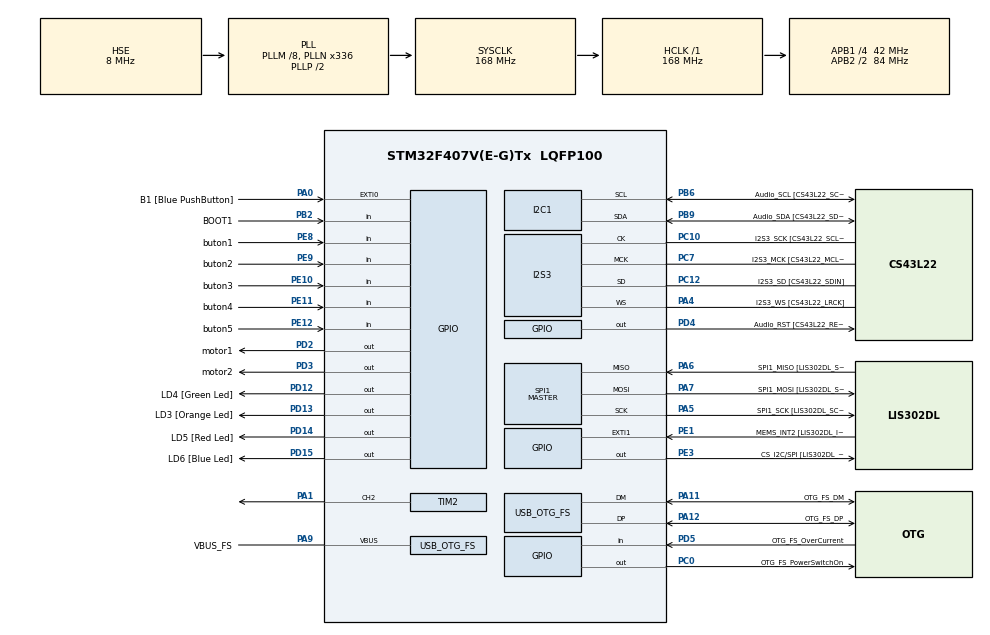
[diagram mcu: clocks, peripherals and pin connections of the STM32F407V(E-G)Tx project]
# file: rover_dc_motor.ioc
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I2S3.AudioFreq-Half_Duplex_Master=I2S_AUDIOFREQ_96K
I2S3.ErrorAudioFreq=-2.34 %
I2S3.ErrorAudioFreq-Half_Duplex_Master=0.8 %
I2S3.FullDuplexMode=I2S_FULLDUPLEXMODE_DISABLE
I2S3.Instance=SPI$Index
I2S3.RealAudioFreq=93.75 KHz
I2S3.RealAudioFreq-Half_Duplex_Master=96.774 KHz
I2S3.VirtualMode=I2S_MODE_MASTER
Mcu.Family=STM32F4
Mcu.Name=STM32F407V(E-G)Tx
Mcu.Package=LQFP100
NVIC.OTG_FS_IRQn=true\:0\:0\:false\:false\:true\:true\:true\:true
NVIC.PriorityGroup=NVIC_PRIORITYGROUP_0
NVIC.TIM2_IRQn=true\:0\:0\:false\:false\:true\:true\:true\:true
PA0-WKUP.GPIO_Label=B1 [Blue PushButton]
PA0-WKUP.GPIO_ModeDefaultEXTI=GPIO_MODE_EVT_RISING
PA0-WKUP.GPIO_PuPd=GPIO_NOPULL
PA0-WKUP.Signal=GPXTI0
PA1.Signal=S_TIM2_CH2
PA10.GPIO_Label=OTG_FS_ID
PA10.GPIO_Mode=GPIO_MODE_AF_PP
PA10.GPIO_PuPd=GPIO_NOPULL
PA10.GPIO_Speed=GPIO_SPEED_FREQ_LOW
PA10.Signal=USB_OTG_FS_ID
PA11.GPIO_Label=OTG_FS_DM
PA11.GPIO_Mode=GPIO_MODE_AF_PP
PA11.GPIO_PuPd=GPIO_NOPULL
PA11.GPIO_Speed=GPIO_SPEED_FREQ_LOW
PA11.Mode=Host_Only
PA11.Signal=USB_OTG_FS_DM
PA12.GPIO_Label=OTG_FS_DP
PA12.GPIO_Mode=GPIO_MODE_AF_PP
PA12.GPIO_PuPd=GPIO_NOPULL
PA12.GPIO_Speed=GPIO_SPEED_FREQ_LOW
PA12.Mode=Host_Only
PA12.Signal=USB_OTG_FS_DP
PA13.GPIO_Label=SWDIO
PA13.Mode=Serial_Wire
PA13.Signal=SYS_JTMS-SWDIO
PA14.GPIO_Label=SWCLK
PA14.Mode=Serial_Wire
PA14.Signal=SYS_JTCK-SWCLK
PA4.GPIO_Label=I2S3_WS [CS43L22_LRCK]
PA4.GPIO_Mode=GPIO_MODE_AF_PP
PA4.GPIO_PuPd=GPIO_NOPULL
PA4.GPIO_Speed=GPIO_SPEED_FREQ_LOW
PA4.Mode=Half_Duplex_Master
PA4.Signal=I2S3_WS
PA5.GPIO_Label=SPI1_SCK [LIS302DL_SCL/SPC]
PA5.GPIO_Mode=GPIO_MODE_AF_PP
PA5.GPIO_PuPd=GPIO_NOPULL
PA5.GPIO_Speed=GPIO_SPEED_FREQ_LOW
PA5.Mode=Full_Duplex_Master
PA5.Signal=SPI1_SCK
PA6.GPIO_Label=SPI1_MISO [LIS302DL_SDO]
PA6.GPIO_Mode=GPIO_MODE_AF_PP
PA6.GPIO_PuPd=GPIO_NOPULL
PA6.GPIO_Speed=GPIO_SPEED_FREQ_LOW
PA6.Mode=Full_Duplex_Master
PA6.Signal=SPI1_MISO
PA7.GPIO_Label=SPI1_MOSI [LIS302DL_SDA/SDI/SDO]
PA7.GPIO_Mode=GPIO_MODE_AF_PP
PA7.GPIO_PuPd=GPIO_NOPULL
PA7.GPIO_Speed=GPIO_SPEED_FREQ_LOW
PA7.Mode=Full_Duplex_Master
PA7.Signal=SPI1_MOSI
PA9.GPIO_Label=VBUS_FS
PA9.GPIO_Mode=GPIO_MODE_INPUT
PA9.GPIO_PuPd=GPIO_NOPULL
PA9.Mode=Activate_VBUS
PA9.Signal=USB_OTG_FS_VBUS
PB10.GPIO_Label=CLK_IN [MP45DT02_CLK]
PB10.GPIO_Mode=GPIO_MODE_AF_PP
PB10.GPIO_PuPd=GPIO_NOPULL
PB10.GPIO_Speed=GPIO_SPEED_FREQ_LOW
PB10.Signal=I2S2_CK
PB2.GPIO_Label=BOOT1
PB2.GPIO_Mode=GPIO_MODE_INPUT
PB2.GPIO_PuPd=GPIO_NOPULL
PB2.Signal=GPIO_Input
PB3.GPIO_Label=SWO
PB3.Signal=SYS_JTDO-SWO
PB6.GPIO_Label=Audio_SCL [CS43L22_SCL]
PB6.GPIO_Mode=GPIO_MODE_AF_OD
PB6.GPIO_Pu=GPIO_PULLUP
PB6.GPIO_PuPd=GPIO_NOPULL
PB6.GPIO_Speed=GPIO_SPEED_FREQ_LOW
PB6.Mode=I2C
PB6.Signal=I2C1_SCL
PB9.GPIO_Label=Audio_SDA [CS43L22_SDA]
PB9.GPIO_Mode=GPIO_MODE_AF_OD
PB9.GPIO_Pu=GPIO_PULLUP
PB9.GPIO_PuPd=GPIO_NOPULL
PB9.GPIO_Speed=GPIO_SPEED_FREQ_LOW
PB9.Mode=I2C
PB9.Signal=I2C1_SDA
PC0.GPIO_Label=OTG_FS_PowerSwitchOn
PC0.GPIO_PuPd=GPIO_NOPULL
PC0.GPIO_Speed=GPIO_SPEED_FREQ_LOW
PC0.PinState=GPIO_PIN_SET
PC0.Signal=GPIO_Output
PC10.GPIO_Label=I2S3_SCK [CS43L22_SCLK]
PC10.GPIO_Mode=GPIO_MODE_AF_PP
PC10.GPIO_PuPd=GPIO_NOPULL
PC10.GPIO_Speed=GPIO_SPEED_FREQ_LOW
PC10.Mode=Half_Duplex_Master
PC10.Signal=I2S3_CK
PC12.GPIO_Label=I2S3_SD [CS43L22_SDIN]
PC12.GPIO_Mode=GPIO_MODE_AF_PP
PC12.GPIO_PuPd=GPIO_NOPULL
PC12.GPIO_Speed=GPIO_SPEED_FREQ_LOW
PC12.Mode=Half_Duplex_Master
PC12.Signal=I2S3_SD
PC14-OSC32_IN.GPIO_Label=PC14-OSC32_IN
PC14-OSC32_IN.Mode=LSE-External-Oscillator
PC14-OSC32_IN.Signal=RCC_OSC32_IN
PC15-OSC32_OUT.GPIO_Label=PC15-OSC32_OUT
PC15-OSC32_OUT.Mode=LSE-External-Oscillator
PC15-OSC32_OUT.Signal=RCC_OSC32_OUT
PC3.GPIO_Label=PDM_OUT [MP45DT02_DOUT]
PC3.GPIO_Mode=GPIO_MODE_AF_PP
PC3.GPIO_PuPd=GPIO_NOPULL
PC3.GPIO_Speed=GPIO_SPEED_FREQ_LOW
PC3.Signal=I2S2_SD
PC7.GPIO_Label=I2S3_MCK [CS43L22_MCLK]
PC7.GPIO_Mode=GPIO_MODE_AF_PP
PC7.GPIO_PuPd=GPIO_NOPULL
PC7.GPIO_Speed=GPIO_SPEED_FREQ_LOW
PC7.Mode=Master_Clock_Activated
PC7.Signal=I2S3_MCK
PD12.GPIO_Label=LD4 [Green Led]
PD12.GPIO_PuPd=GPIO_NOPULL
PD12.GPIO_Speed=GPIO_SPEED_FREQ_LOW
PD12.Signal=GPIO_Output
PD13.GPIO_Label=LD3 [Orange Led]
PD13.GPIO_PuPd=GPIO_NOPULL
PD13.GPIO_Speed=GPIO_SPEED_FREQ_LOW
PD13.Signal=GPIO_Output
PD14.GPIO_Label=LD5 [Red Led]
PD14.GPIO_PuPd=GPIO_NOPULL
PD14.GPIO_Speed=GPIO_SPEED_FREQ_LOW
PD14.Signal=GPIO_Output
PD15.GPIO_Label=LD6 [Blue Led]
PD15.GPIO_PuPd=GPIO_NOPULL
PD15.GPIO_Speed=GPIO_SPEED_FREQ_LOW
PD15.Signal=GPIO_Output
PD2.GPIO_Label=motor1
PD2.Signal=GPIO_Output
PD3.GPIO_Label=motor2
PD3.Signal=GPIO_Output
PD4.GPIO_Label=Audio_RST [CS43L22_RESET]
PD4.GPIO_PuPd=GPIO_NOPULL
PD4.GPIO_Speed=GPIO_SPEED_FREQ_LOW
PD4.Signal=GPIO_Output
PD5.GPIO_Label=OTG_FS_OverCurrent
PD5.GPIO_Mode=GPIO_MODE_INPUT
PD5.GPIO_PuPd=GPIO_NOPULL
PD5.Signal=GPIO_Input
PE1.GPIO_Label=MEMS_INT2 [LIS302DL_INT2]
PE1.GPIO_ModeDefaultEXTI=GPIO_MODE_EVT_RISING
PE1.GPIO_PuPd=GPIO_NOPULL
PE1.Signal=GPXTI1
PE10.GPIO_Label=buton3
PE10.GPIO_PuPd=GPIO_PULLDOWN
PE10.Signal=GPIO_Input
PE11.GPIO_Label=buton4
PE11.GPIO_PuPd=GPIO_PULLDOWN
PE11.Signal=GPIO_Input
PE12.GPIO_Label=buton5
PE12.GPIO_PuPd=GPIO_PULLDOWN
PE12.Signal=GPIO_Input
PE3.GPIO_Label=CS_I2C/SPI [LIS302DL_CS_I2C/SPI]
PE3.GPIO_PuPd=GPIO_NOPULL
PE3.GPIO_Speed=GPIO_SPEED_FREQ_LOW
PE3.Signal=GPIO_Output
PE8.GPIO_Label=buton1
PE8.GPIO_PuPd=GPIO_PULLDOWN
PE8.Signal=GPIO_Input
PE9.GPIO_Label=buton2
PE9.GPIO_PuPd=GPIO_PULLDOWN
PE9.Signal=GPIO_Input
PH0-OSC_IN.GPIO_Label=PH0-OSC_IN
PH0-OSC_IN.Mode=HSE-External-Oscillator
PH0-OSC_IN.Signal=RCC_OSC_IN
PH1-OSC_OUT.GPIO_Label=PH1-OSC_OUT
PH1-OSC_OUT.Mode=HSE-External-Oscillator
PH1-OSC_OUT.Signal=RCC_OSC_OUT
ProjectManager.HeapSize=0x200
ProjectManager.StackSize=0x400
ProjectManager.TargetToolchain=STM32CubeIDE
RCC.48MHZClocksFreq_Value=48000000
RCC.AHBFreq_Value=168000000
RCC.APB1CLKDivider=RCC_HCLK_DIV4
RCC.APB1Freq_Value=42000000
RCC.APB1TimFreq_Value=84000000
RCC.APB2CLKDivider=RCC_HCLK_DIV2
RCC.APB2Freq_Value=84000000
RCC.APB2TimFreq_Value=168000000
RCC.CortexFreq_Value=168000000
RCC.HCLKFreq_Value=168000000
RCC.HSE_VALUE=8000000
RCC.HSI_VALUE=16000000
RCC.PLLM=8
RCC.PLLN=336
RCC.PLLQ=7
RCC.SYSCLKFreq_VALUE=168000000
RCC.SYSCLKSource=RCC_SYSCLKSOURCE_PLLCLK
RCC.VCOOutputFreq_Value=336000000
SH.S_TIM2_CH2.0=TIM2_CH2,PWM Generation2 CH2
SPI1.BaudRatePrescaler-Full_Duplex_Master=SPI_BAUDRATEPRESCALER_2
SPI1.CalculateBaudRate-Full_Duplex_Master=42.0 MBits/s
SPI1.Direction=SPI_DIRECTION_2LINES
SPI1.Mode=SPI_MODE_MASTER
SPI1.Mode-Full_Duplex_Master=SPI_MODE_MASTER
SPI1.VirtualType=VM_MASTER
TIM2.Channel-PWM\ Generation2\ CH2=TIM_CHANNEL_2
TIM2.Period=1000-1
TIM2.Prescaler=84-1
USB_HOST.BSP.number=1
USB_HOST.USBH_HandleTypeDef-CDC_FS=hUsbHostFS
USB_HOST.VirtualModeFS=Cdc
USB_HOST0.BSP.STBoard=false
USB_HOST0.BSP.api=Unknown
USB_HOST0.BSP.instance=PC0
USB_HOST0.BSP.ip=GPIO
USB_HOST0.BSP.mode=Output
USB_HOST0.BSP.name=Drive_VBUS_FS
USB_HOST0.BSP.solution=PC0
USB_OTG_FS.VirtualMode=Host_Only
USB_OTG_FS.phy_itface=HCD_PHY_EMBEDDED
VP_TIM2_VS_ClockSourceINT.Mode=Internal
VP_USB_HOST_VS_USB_HOST_CDC_FS.Mode=CDC_FS
board=STM32F407G-DISC1

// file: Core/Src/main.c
/* USER CODE BEGIN Header */
/**
  ******************************************************************************
  * @file           : main.c
  * @brief          : Main program body
  ******************************************************************************
  * @attention
  *
  * Copyright (c) 2023 STMicroelectronics.
  * All rights reserved.
  *
  * This software is licensed under terms that can be found in the LICENSE file
  * in the root directory of this software component.
  * If no LICENSE file comes with this software, it is provided AS-IS.
  *
  ******************************************************************************
  */
/* USER CODE END Header */
#include "main.h"
#include "usb_host.h"

I2C_HandleTypeDef hi2c1;

I2S_HandleTypeDef hi2s3;

SPI_HandleTypeDef hspi1;

TIM_HandleTypeDef htim2;

void SystemClock_Config(void);
static void MX_GPIO_Init(void);
static void MX_I2C1_Init(void);
static void MX_I2S3_Init(void);
static void MX_SPI1_Init(void);
static void MX_TIM2_Init(void);
void MX_USB_HOST_Process(void);

int main(void)
{

  /* MCU Configuration--------------------------------------------------------*/

  /* Reset of all peripherals, Initializes the Flash interface and the Systick. */
  HAL_Init();

  /* Configure the system clock */
  SystemClock_Config();

  /* Initialize all configured peripherals */
  MX_GPIO_Init();
  MX_I2C1_Init();
  MX_I2S3_Init();
  MX_SPI1_Init();
  MX_USB_HOST_Init();
  MX_TIM2_Init();

  /* Infinite loop */
  while (1)
  {
    MX_USB_HOST_Process();

    /* USER CODE BEGIN 3 */

    HAL_TIM_PWM_Start(&htim2, TIM_CHANNEL_2);                             //PWM sinyalini başlatıyorum.

    if(HAL_GPIO_ReadPin(buton1_GPIO_Port, buton1_Pin) == 1)               // 1. butona basılırsa aşağıdaki komutlar gerçekleşecek.
    {
    	__HAL_TIM_SET_COMPARE(&htim2, TIM_CHANNEL_2,1000);                //Duty cycle'yi %100'e ayarlıyorum. (AutoReload Register'ın değeri 1000'di.)
    	HAL_GPIO_WritePin(motor1_GPIO_Port, motor1_Pin, GPIO_PIN_SET);    //DC motorun bağlı olduğu birinci kabloyu lojik-1 yapıyorum.
    	HAL_GPIO_WritePin(motor2_GPIO_Port, motor2_Pin, GPIO_PIN_RESET);  //DC motorun bağlı olduğu ikinci kabloyu lojik-0 yapıyorum.
    }

    else if(HAL_GPIO_ReadPin(buton2_GPIO_Port, buton2_Pin) == 1)          // 2. butona basılırsa aşağıdaki komutlar gerçekleşecek.
    {
    	__HAL_TIM_SET_COMPARE(&htim2, TIM_CHANNEL_2,500);                 //Duty cycle'yi %50'ye ayarlıyorum. (AutoReload Register'ın değeri 1000'di.)
    	HAL_GPIO_WritePin(motor1_GPIO_Port, motor1_Pin, GPIO_PIN_SET);    //DC motorun bağlı olduğu birinci kabloyu lojik-1 yapıyorum.
    	HAL_GPIO_WritePin(motor2_GPIO_Port, motor2_Pin, GPIO_PIN_RESET);  //DC motorun bağlı olduğu ikinci kabloyu lojik-0 yapıyorum.
    }

    else if(HAL_GPIO_ReadPin(buton3_GPIO_Port, buton3_Pin) == 1)          // 3. butona basılırsa aşağıdaki komutlar gerçekleşecek.
    {
    	HAL_GPIO_WritePin(motor1_GPIO_Port, motor1_Pin, GPIO_PIN_RESET);  //DC motorun bağlı olduğu birinci kabloyu lojik-0 yapıyorum.
    	HAL_GPIO_WritePin(motor2_GPIO_Port, motor2_Pin, GPIO_PIN_RESET);  //DC motorun bağlı olduğu ikinci kabloyu lojik-0 yapıyorum. Böylece motor duracak.
    }

    else if(HAL_GPIO_ReadPin(buton4_GPIO_Port, buton4_Pin) == 1)          // 4. butona basılırsa aşağıdaki komutlar gerçekleşecek.
    {
    	__HAL_TIM_SET_COMPARE(&htim2, TIM_CHANNEL_2,500);                 //Duty cycle'yi %50'ye ayarlıyorum. (AutoReload Register'ın değeri 1000'di.)
    	HAL_GPIO_WritePin(motor1_GPIO_Port, motor1_Pin, GPIO_PIN_RESET);  //DC motorun bağlı olduğu birinci kabloyu lojik-0 yapıyorum.
    	HAL_GPIO_WritePin(motor2_GPIO_Port, motor2_Pin, GPIO_PIN_SET);    //DC motorun bağlı olduğu ikinci kabloyu lojik-1 yapıyorum. Böylece motor ilk iki koşulda döndüğü yönün tersine dönecek.
    }

    else if(HAL_GPIO_ReadPin(buton5_GPIO_Port, buton5_Pin) == 1)          // 5. butona basılırsa aşağıdaki komutlar gerçekleşecek.
    {
    	__HAL_TIM_SET_COMPARE(&htim2, TIM_CHANNEL_2,1000);                //Duty cycle'yi %100'e ayarlıyorum. (AutoReload Register'ın değeri 1000'di.)
    	HAL_GPIO_WritePin(motor1_GPIO_Port, motor1_Pin, GPIO_PIN_RESET);  //DC motorun bağlı olduğu birinci kabloyu lojik-0 yapıyorum.
    	HAL_GPIO_WritePin(motor2_GPIO_Port, motor2_Pin, GPIO_PIN_SET);    //DC motorun bağlı olduğu ikinci kabloyu lojik-1 yapıyorum. Böylece motor ilk iki koşulda döndüğü yönün tersine dönecek.
    }

  }
  /* USER CODE END 3 */
}

void SystemClock_Config(void)
{
  RCC_OscInitTypeDef RCC_OscInitStruct = {0};
  RCC_ClkInitTypeDef RCC_ClkInitStruct = {0};

  /** Configure the main internal regulator output voltage
  */
  __HAL_RCC_PWR_CLK_ENABLE();
  __HAL_PWR_VOLTAGESCALING_CONFIG(PWR_REGULATOR_VOLTAGE_SCALE1);

  /** Initializes the RCC Oscillators according to the specified parameters
  * in the RCC_OscInitTypeDef structure.
  */
  RCC_OscInitStruct.OscillatorType = RCC_OSCILLATORTYPE_HSE;
  RCC_OscInitStruct.HSEState = RCC_HSE_ON;
  RCC_OscInitStruct.PLL.PLLState = RCC_PLL_ON;
  RCC_OscInitStruct.PLL.PLLSource = RCC_PLLSOURCE_HSE;
  RCC_OscInitStruct.PLL.PLLM = 8;
  RCC_OscInitStruct.PLL.PLLN = 336;
  RCC_OscInitStruct.PLL.PLLP = RCC_PLLP_DIV2;
  RCC_OscInitStruct.PLL.PLLQ = 7;
  if (HAL_RCC_OscConfig(&RCC_OscInitStruct) != HAL_OK)
  {
    Error_Handler();
  }

  /** Initializes the CPU, AHB and APB buses clocks
  */
  RCC_ClkInitStruct.ClockType = RCC_CLOCKTYPE_HCLK|RCC_CLOCKTYPE_SYSCLK
                              |RCC_CLOCKTYPE_PCLK1|RCC_CLOCKTYPE_PCLK2;
  RCC_ClkInitStruct.SYSCLKSource = RCC_SYSCLKSOURCE_PLLCLK;
  RCC_ClkInitStruct.AHBCLKDivider = RCC_SYSCLK_DIV1;
  RCC_ClkInitStruct.APB1CLKDivider = RCC_HCLK_DIV4;
  RCC_ClkInitStruct.APB2CLKDivider = RCC_HCLK_DIV2;

  if (HAL_RCC_ClockConfig(&RCC_ClkInitStruct, FLASH_LATENCY_5) != HAL_OK)
  {
    Error_Handler();
  }
}

static void MX_I2C1_Init(void)
{

  hi2c1.Instance = I2C1;
  hi2c1.Init.ClockSpeed = 100000;
  hi2c1.Init.DutyCycle = I2C_DUTYCYCLE_2;
  hi2c1.Init.OwnAddress1 = 0;
  hi2c1.Init.AddressingMode = I2C_ADDRESSINGMODE_7BIT;
  hi2c1.Init.DualAddressMode = I2C_DUALADDRESS_DISABLE;
  hi2c1.Init.OwnAddress2 = 0;
  hi2c1.Init.GeneralCallMode = I2C_GENERALCALL_DISABLE;
  hi2c1.Init.NoStretchMode = I2C_NOSTRETCH_DISABLE;
  if (HAL_I2C_Init(&hi2c1) != HAL_OK)
  {
    Error_Handler();
  }

}

static void MX_I2S3_Init(void)
{

  hi2s3.Instance = SPI3;
  hi2s3.Init.Mode = I2S_MODE_MASTER_TX;
  hi2s3.Init.Standard = I2S_STANDARD_PHILIPS;
  hi2s3.Init.DataFormat = I2S_DATAFORMAT_16B;
  hi2s3.Init.MCLKOutput = I2S_MCLKOUTPUT_ENABLE;
  hi2s3.Init.AudioFreq = I2S_AUDIOFREQ_96K;
  hi2s3.Init.CPOL = I2S_CPOL_LOW;
  hi2s3.Init.ClockSource = I2S_CLOCK_PLL;
  hi2s3.Init.FullDuplexMode = I2S_FULLDUPLEXMODE_DISABLE;
  if (HAL_I2S_Init(&hi2s3) != HAL_OK)
  {
    Error_Handler();
  }

}

static void MX_SPI1_Init(void)
{

  /* SPI1 parameter configuration*/
  hspi1.Instance = SPI1;
  hspi1.Init.Mode = SPI_MODE_MASTER;
  hspi1.Init.Direction = SPI_DIRECTION_2LINES;
  hspi1.Init.DataSize = SPI_DATASIZE_8BIT;
  hspi1.Init.CLKPolarity = SPI_POLARITY_LOW;
  hspi1.Init.CLKPhase = SPI_PHASE_1EDGE;
  hspi1.Init.NSS = SPI_NSS_SOFT;
  hspi1.Init.BaudRatePrescaler = SPI_BAUDRATEPRESCALER_2;
  hspi1.Init.FirstBit = SPI_FIRSTBIT_MSB;
  hspi1.Init.TIMode = SPI_TIMODE_DISABLE;
  hspi1.Init.CRCCalculation = SPI_CRCCALCULATION_DISABLE;
  hspi1.Init.CRCPolynomial = 10;
  if (HAL_SPI_Init(&hspi1) != HAL_OK)
  {
    Error_Handler();
  }

}

static void MX_TIM2_Init(void)
{

  TIM_ClockConfigTypeDef sClockSourceConfig = {0};
  TIM_MasterConfigTypeDef sMasterConfig = {0};
  TIM_OC_InitTypeDef sConfigOC = {0};

  htim2.Instance = TIM2;
  htim2.Init.Prescaler = 84-1;
  htim2.Init.CounterMode = TIM_COUNTERMODE_UP;
  htim2.Init.Period = 1000-1;
  htim2.Init.ClockDivision = TIM_CLOCKDIVISION_DIV1;
  htim2.Init.AutoReloadPreload = TIM_AUTORELOAD_PRELOAD_DISABLE;
  if (HAL_TIM_Base_Init(&htim2) != HAL_OK)
  {
    Error_Handler();
  }
  sClockSourceConfig.ClockSource = TIM_CLOCKSOURCE_INTERNAL;
  if (HAL_TIM_ConfigClockSource(&htim2, &sClockSourceConfig) != HAL_OK)
  {
    Error_Handler();
  }
  if (HAL_TIM_PWM_Init(&htim2) != HAL_OK)
  {
    Error_Handler();
  }
  sMasterConfig.MasterOutputTrigger = TIM_TRGO_RESET;
  sMasterConfig.MasterSlaveMode = TIM_MASTERSLAVEMODE_DISABLE;
  if (HAL_TIMEx_MasterConfigSynchronization(&htim2, &sMasterConfig) != HAL_OK)
  {
    Error_Handler();
  }
  sConfigOC.OCMode = TIM_OCMODE_PWM1;
  sConfigOC.Pulse = 0;
  sConfigOC.OCPolarity = TIM_OCPOLARITY_HIGH;
  sConfigOC.OCFastMode = TIM_OCFAST_DISABLE;
  if (HAL_TIM_PWM_ConfigChannel(&htim2, &sConfigOC, TIM_CHANNEL_2) != HAL_OK)
  {
    Error_Handler();
  }
  HAL_TIM_MspPostInit(&htim2);

}

static void MX_GPIO_Init(void)
{
  GPIO_InitTypeDef GPIO_InitStruct = {0};

  /* GPIO Ports Clock Enable */
  __HAL_RCC_GPIOE_CLK_ENABLE();
  __HAL_RCC_GPIOC_CLK_ENABLE();
  __HAL_RCC_GPIOH_CLK_ENABLE();
  __HAL_RCC_GPIOA_CLK_ENABLE();
  __HAL_RCC_GPIOB_CLK_ENABLE();
  __HAL_RCC_GPIOD_CLK_ENABLE();

  /*Configure GPIO pin Output Level */
  HAL_GPIO_WritePin(CS_I2C_SPI_GPIO_Port, CS_I2C_SPI_Pin, GPIO_PIN_RESET);

  /*Configure GPIO pin Output Level */
  HAL_GPIO_WritePin(OTG_FS_PowerSwitchOn_GPIO_Port, OTG_FS_PowerSwitchOn_Pin, GPIO_PIN_SET);

  /*Configure GPIO pin Output Level */
  HAL_GPIO_WritePin(GPIOD, LD4_Pin|LD3_Pin|LD5_Pin|LD6_Pin
                          |motor1_Pin|motor2_Pin|Audio_RST_Pin, GPIO_PIN_RESET);

  /*Configure GPIO pin : CS_I2C_SPI_Pin */
  GPIO_InitStruct.Pin = CS_I2C_SPI_Pin;
  GPIO_InitStruct.Mode = GPIO_MODE_OUTPUT_PP;
  GPIO_InitStruct.Pull = GPIO_NOPULL;
  GPIO_InitStruct.Speed = GPIO_SPEED_FREQ_LOW;
  HAL_GPIO_Init(CS_I2C_SPI_GPIO_Port, &GPIO_InitStruct);

  /*Configure GPIO pin : OTG_FS_PowerSwitchOn_Pin */
  GPIO_InitStruct.Pin = OTG_FS_PowerSwitchOn_Pin;
  GPIO_InitStruct.Mode = GPIO_MODE_OUTPUT_PP;
  GPIO_InitStruct.Pull = GPIO_NOPULL;
  GPIO_InitStruct.Speed = GPIO_SPEED_FREQ_LOW;
  HAL_GPIO_Init(OTG_FS_PowerSwitchOn_GPIO_Port, &GPIO_InitStruct);

  /*Configure GPIO pin : PDM_OUT_Pin */
  GPIO_InitStruct.Pin = PDM_OUT_Pin;
  GPIO_InitStruct.Mode = GPIO_MODE_AF_PP;
  GPIO_InitStruct.Pull = GPIO_NOPULL;
  GPIO_InitStruct.Speed = GPIO_SPEED_FREQ_LOW;
  GPIO_InitStruct.Alternate = GPIO_AF5_SPI2;
  HAL_GPIO_Init(PDM_OUT_GPIO_Port, &GPIO_InitStruct);

  /*Configure GPIO pin : B1_Pin */
  GPIO_InitStruct.Pin = B1_Pin;
  GPIO_InitStruct.Mode = GPIO_MODE_EVT_RISING;
  GPIO_InitStruct.Pull = GPIO_NOPULL;
  HAL_GPIO_Init(B1_GPIO_Port, &GPIO_InitStruct);

  /*Configure GPIO pin : BOOT1_Pin */
  GPIO_InitStruct.Pin = BOOT1_Pin;
  GPIO_InitStruct.Mode = GPIO_MODE_INPUT;
  GPIO_InitStruct.Pull = GPIO_NOPULL;
  HAL_GPIO_Init(BOOT1_GPIO_Port, &GPIO_InitStruct);

  /*Configure GPIO pins : buton1_Pin buton2_Pin buton3_Pin buton4_Pin
                           buton5_Pin */
  GPIO_InitStruct.Pin = buton1_Pin|buton2_Pin|buton3_Pin|buton4_Pin
                          |buton5_Pin;
  GPIO_InitStruct.Mode = GPIO_MODE_INPUT;
  GPIO_InitStruct.Pull = GPIO_PULLDOWN;
  HAL_GPIO_Init(GPIOE, &GPIO_InitStruct);

  /*Configure GPIO pin : CLK_IN_Pin */
  GPIO_InitStruct.Pin = CLK_IN_Pin;
  GPIO_InitStruct.Mode = GPIO_MODE_AF_PP;
  GPIO_InitStruct.Pull = GPIO_NOPULL;
  GPIO_InitStruct.Speed = GPIO_SPEED_FREQ_LOW;
  GPIO_InitStruct.Alternate = GPIO_AF5_SPI2;
  HAL_GPIO_Init(CLK_IN_GPIO_Port, &GPIO_InitStruct);

  /*Configure GPIO pins : LD4_Pin LD3_Pin LD5_Pin LD6_Pin
                           motor1_Pin motor2_Pin Audio_RST_Pin */
  GPIO_InitStruct.Pin = LD4_Pin|LD3_Pin|LD5_Pin|LD6_Pin
                          |motor1_Pin|motor2_Pin|Audio_RST_Pin;
  GPIO_InitStruct.Mode = GPIO_MODE_OUTPUT_PP;
  GPIO_InitStruct.Pull = GPIO_NOPULL;
  GPIO_InitStruct.Speed = GPIO_SPEED_FREQ_LOW;
  HAL_GPIO_Init(GPIOD, &GPIO_InitStruct);

  /*Configure GPIO pin : OTG_FS_OverCurrent_Pin */
  GPIO_InitStruct.Pin = OTG_FS_OverCurrent_Pin;
  GPIO_InitStruct.Mode = GPIO_MODE_INPUT;
  GPIO_InitStruct.Pull = GPIO_NOPULL;
  HAL_GPIO_Init(OTG_FS_OverCurrent_GPIO_Port, &GPIO_InitStruct);

  /*Configure GPIO pin : MEMS_INT2_Pin */
  GPIO_InitStruct.Pin = MEMS_INT2_Pin;
  GPIO_InitStruct.Mode = GPIO_MODE_EVT_RISING;
  GPIO_InitStruct.Pull = GPIO_NOPULL;
  HAL_GPIO_Init(MEMS_INT2_GPIO_Port, &GPIO_InitStruct);

}

void Error_Handler(void)
{
  __disable_irq();
  while (1)
  {
  }
}
